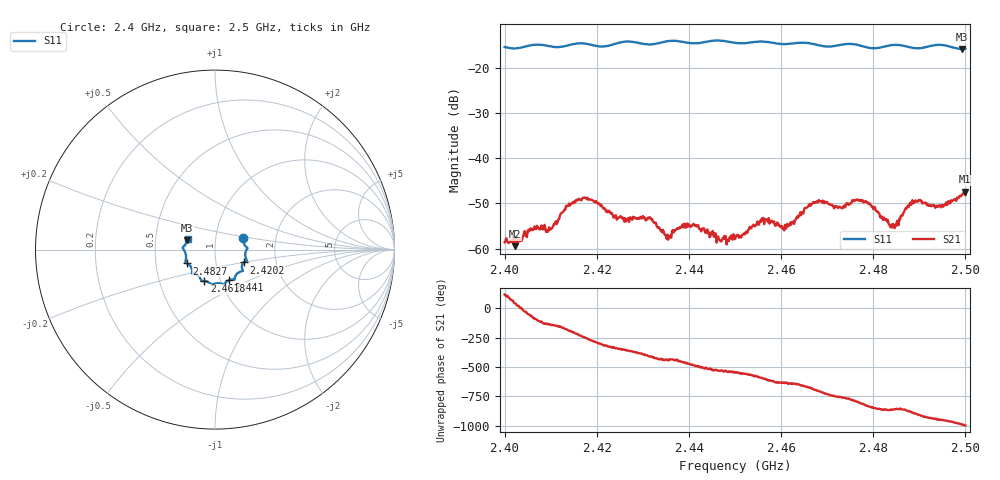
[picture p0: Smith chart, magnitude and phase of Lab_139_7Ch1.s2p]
# Hz S RI R 50
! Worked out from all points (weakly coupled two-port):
!   601 points, 2.4 GHz to 2.5 GHz, reference 50 ohm
!   highest |S21| = -47.39 dB at 2.4998 GHz (marker M1); lowest = -59.5 dB at 2.4022 GHz (marker M2)
!   lowest |S11| = -15.8 dB at 2.4993 GHz (marker M3), VSWR 1.39, Z = 36.5 + j3.81 ohm
!   |S11| at or under -10 dB: start of sweep to end of sweep
!   S12 and S22 are empty: the file has one direction only
!   S11 on the Smith chart (normalised r, x): 2.4 GHz: 1.36, +0.18; 2.4202 GHz: 1.36, -0.20; 2.441 GHz: 1.10, -0.39; 2.4618 GHz: 0.84, -0.30; 2.4827 GHz: 0.72, -0.11; 2.5 GHz: 0.73, +0.09
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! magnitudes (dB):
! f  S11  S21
! 2.4 GHz  -15.4  -58.6
! 2.4022 GHz  -15.7  -59.5
! 2.4098 GHz  -15.2  -55.8
! 2.4167 GHz  -14.5  -49.3
! 2.4202 GHz  -15.2  -50.0
! 2.4333 GHz  -14.5  -55.4
! 2.4357 GHz  -14.0  -57.2
! 2.441 GHz  -14.6  -54.5
! 2.4465 GHz  -13.9  -58.0
! 2.45 GHz  -14.4  -57.9
! 2.4563 GHz  -14.2  -54.6
! 2.4618 GHz  -14.6  -54.8
! 2.4667 GHz  -14.6  -50.1
! 2.4772 GHz  -15.0  -49.2
! 2.4827 GHz  -15.2  -53.7
! 2.4833 GHz  -15.0  -54.5
! 2.485 GHz  -14.9  -55.0
! 2.489 GHz  -15.6  -49.7
! 2.4948 GHz  -14.9  -50.3
! 2.4993 GHz  -15.8  -48.0
! 2.4998 GHz  -15.7  -47.4
! 2.5 GHz  -15.7  -48.1
